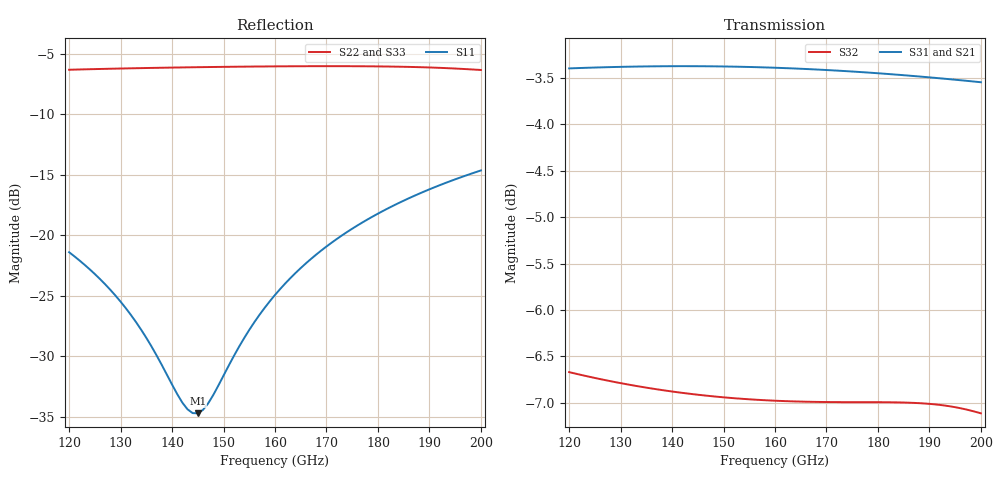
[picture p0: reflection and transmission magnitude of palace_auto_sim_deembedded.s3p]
! Created with skrf 1.10.0 (http://scikit-rf.org).
# GHz S DB R 50.0
!freq dBS11 angS11 dBS12 angS12 dBS13 angS13
! dBS21 angS21 dBS22 angS22 dBS23 angS23
! dBS31 angS31 dBS32 angS32 dBS33 angS33
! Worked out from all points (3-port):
!   81 points, 120 GHz to 200 GHz, reference 50 ohm
!   strongest paths, dB at 120 GHz, 140 GHz, 160 GHz, 180 GHz, 200 GHz:
!     S31: -3.4, -3.4, -3.4, -3.4, -3.5
!     S21: -3.4, -3.4, -3.4, -3.5, -3.5
!     S32: -6.7, -6.9, -7.0, -7.0, -7.1
!   lowest |S11| = -34.7 dB at 145 GHz (marker M1), VSWR 1.04, Z = 51.8 + j0.411 ohm
!   |S11| at or under -10 dB: start of sweep to end of sweep
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120  -21.41 108.1  -3.40 -65.8  -3.40 -65.8
     -3.40 -65.8  -6.34 20.0  -6.67 -142.6
     -3.40 -65.8  -6.67 -142.6  -6.35 20.0
131  -26.03 93.2  -3.38 -72.2  -3.38 -72.2
     -3.38 -72.2  -6.23 13.2  -6.80 -154.0
     -3.38 -72.2  -6.80 -154.0  -6.24 13.2
142  -33.84 44.6  -3.37 -78.6  -3.37 -78.6
     -3.37 -78.6  -6.15 6.7  -6.90 -165.3
     -3.37 -78.6  -6.90 -165.3  -6.16 6.7
145  -34.72 12.5  -3.38 -80.3  -3.37 -80.3
     -3.38 -80.3  -6.13 4.9  -6.92 -168.4
     -3.37 -80.3  -6.92 -168.4  -6.14 4.9
147  -33.91 -8.7  -3.38 -81.5  -3.37 -81.5
     -3.38 -81.5  -6.12 3.8  -6.93 -170.5
     -3.37 -81.5  -6.93 -170.5  -6.13 3.8
154  -28.51 -48.4  -3.38 -85.6  -3.38 -85.6
     -3.38 -85.6  -6.08 -0.2  -6.96 -177.7
     -3.38 -85.6  -6.96 -177.7  -6.09 -0.3
160  -24.95 -61.9  -3.39 -89.1  -3.39 -89.1
     -3.39 -89.1  -6.06 -3.7  -6.98 176.1
     -3.39 -89.1  -6.98 176.1  -6.07 -3.7
167  -21.97 -71.3  -3.41 -93.2  -3.40 -93.2
     -3.41 -93.2  -6.05 -7.7  -6.99 168.9
     -3.40 -93.2  -6.99 168.9  -6.05 -7.7
176  -19.21 -79.7  -3.44 -98.4  -3.43 -98.4
     -3.44 -98.4  -6.05 -13.0  -7.00 159.5
     -3.43 -98.4  -7.00 159.5  -6.06 -13.0
200  -14.66 -96.2  -3.55 -112.3  -3.54 -112.3
     -3.55 -112.3  -6.36 -27.3  -7.12 134.1
     -3.54 -112.3  -7.12 134.1  -6.37 -27.4
